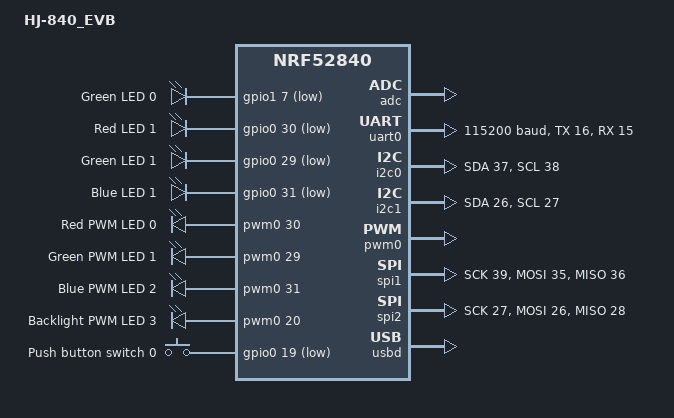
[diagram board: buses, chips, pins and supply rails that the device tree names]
// Copyright (c) 2022 Nordic Semiconductor ASA
// SPDX-License-Identifier: Apache-2.0

/dts-v1/;
#include <nordic/nrf52840_qiaa.dtsi>

/ {
	model = "HJ-840_EVB";
	compatible = "hongjia,hj-840-evb";

	chosen {
		zephyr,console = &uart0;
		zephyr,shell-uart = &uart0;
		zephyr,uart-mcumgr = &uart0;
		zephyr,bt-mon-uart = &uart0;
		zephyr,bt-c2h-uart = &uart0;
		zephyr,sram = &sram0;
		zephyr,flash = &flash0;
		zephyr,code-partition = &slot0_partition;
	};

	leds {
		compatible = "gpio-leds";
		led0_green: led_0 {
			gpios = <&gpio1 7 GPIO_ACTIVE_LOW>;
			label = "Green LED 0";
		};
		led1_red: led_1 {
			gpios = <&gpio0 30 GPIO_ACTIVE_LOW>;
			label = "Red LED 1";
		};
		led1_green: led_2 {
			gpios = <&gpio0 29 GPIO_ACTIVE_LOW>;
			label = "Green LED 1";
		};
		led1_blue: led_3 {
			gpios = <&gpio0 31 GPIO_ACTIVE_LOW>;
			label = "Blue LED 1";
		};
	};

	pwmleds {
		compatible = "pwm-leds";
		red_pwm_led: pwm_led_0 {
			pwms = <&pwm0 30>;
			label = "Red PWM LED 0";
		};
		green_pwm_led: pwm_led_1 {
			pwms = <&pwm0 29>;
			label = "Green PWM LED 1";
		};
		blue_pwm_led: pwm_led_2 {
			pwms = <&pwm0 31>;
			label = "Blue PWM LED 2";
		};
		backlight_pwm_led: pwm_led_3 {
			pwms = <&pwm0 20>;
			label = "Backlight PWM LED 3";
		};
	};

	buttons {
		compatible = "gpio-keys";
		button0: button_0 {
			gpios = <&gpio0 19 (GPIO_PULL_UP | GPIO_ACTIVE_LOW)>;
			label = "Push button switch 0";
		};
	};

	/* These aliases are provided for compatibility with samples */
	aliases {
		sw0 = &button0;
		led0 = &led0_green;
		led1 = &led1_red;
		led2 = &led1_green;
		led3 = &led1_blue;
		led0-green = &led0_green;
		led1-red   = &led1_red;
		led1-green = &led1_green;
		led1-blue  = &led1_blue;
		pwm-led0 = &red_pwm_led;
		pwm-led1 = &green_pwm_led;
		pwm-led2 = &blue_pwm_led;
		pwm-led3 = &backlight_pwm_led;
		red-pwm-led = &red_pwm_led;
		green-pwm-led = &green_pwm_led;
		blue-pwm-led = &blue_pwm_led;
		backlight-pwm-led = &backlight_pwm_led;
	};
};

&adc {
	status = "okay";
};

&gpiote {
	status = "okay";
};

&gpio0 {
	status = "okay";
};

&gpio1 {
	status = "okay";
};

&uart0 {
	compatible = "nordic,nrf-uart";
	status = "okay";
	current-speed = <115200>;
	tx-pin = <16>;
	rx-pin = <15>;
	rts-pin = <14>;
	cts-pin = <13>;
};

arduino_i2c: &i2c0 {
	compatible = "nordic,nrf-twi";
	status = "okay";
	sda-pin = <37>;
	scl-pin = <38>;
};

&i2c1 {
	compatible = "nordic,nrf-twi";
	/* status = "okay"; */
	sda-pin = <26>;
	scl-pin = <27>;
};

&pwm0 {
	status = "okay";
	ch0-pin = <30>;
	ch0-inverted;
	ch1-pin = <29>;
	ch1-inverted;
	ch2-pin = <31>;
	ch2-inverted;
	ch3-pin = <20>;
};

arduino_spi: &spi1 {
	compatible = "nordic,nrf-spi";
	/* status = "okay"; */
	sck-pin = <39>;
	mosi-pin = <35>;
	miso-pin = <36>;
	cs-gpios = <&arduino_header 16 0>; /* D10 */
};

&spi2 {
	compatible = "nordic,nrf-spi";
	/* Cannot be used together with i2c1. */
	status = "okay";
	sck-pin = <27>;
	mosi-pin = <26>;
	miso-pin = <28>;
};

/* Include flash partition table.
 * Two partition tables are available:
 * fstab-stock		-compatible with Nordic nRF5 bootloader, default
 * fstab-debugger	-to use an external debugger, w/o the nRF5 bootloader
 *
 * For more information, see:
 * http://docs.zephyrproject.org/latest/guides/dts/index.html#flash-partitions
 */
 #include "fstab-stock.dts"

	&usbd {
		compatible = "nordic,nrf-usbd";
		status = "okay";
	};
	

// &flash0 {
// 	partitions {
// 		compatible = "fixed-partitions";
// 		#address-cells = <1>;
// 		#size-cells = <1>;

// 		boot_partition: partition@0 {
// 			label = "mcuboot";
// 			reg = <0x0 0xc000>;
// 		};
// 		slot0_partition: partition@c000 {
// 			label = "image-0";
// 			reg = <0xc000 0x72000>;
// 		};
// 		slot1_partition: partition@7e000 {
// 			label = "image-1";
// 			reg = <0x7e000 0x72000>;
// 		};
// 		scratch_partition: partition@f0000 {
// 			label = "image-scratch";
// 			reg = <0xf0000 0xa000>;
// 		};
// 		storage_partition: partition@fa000 {
// 			label = "storage";
// 			reg = <0xfa000 0x6000>;
// 		};
// 	};
// };

